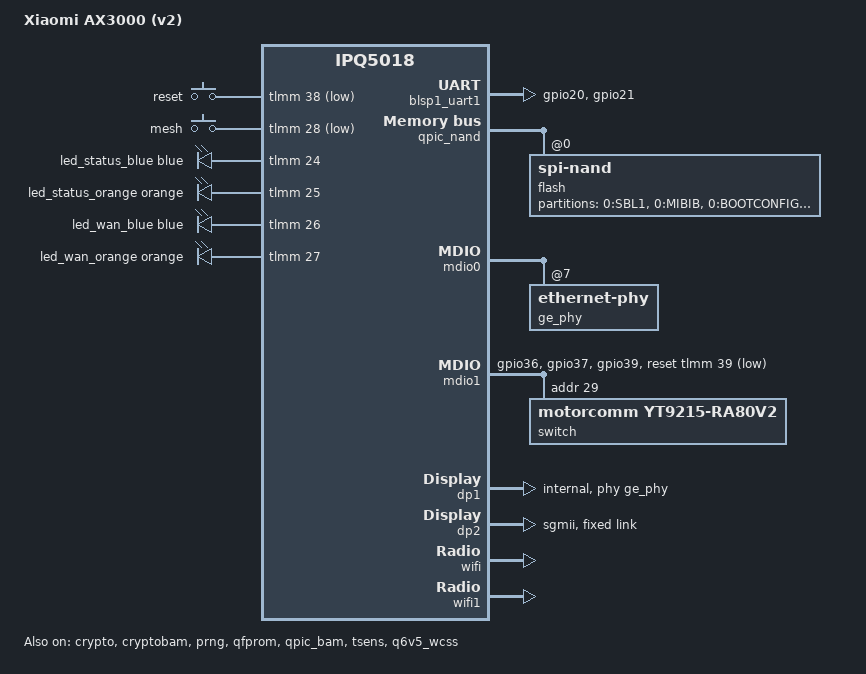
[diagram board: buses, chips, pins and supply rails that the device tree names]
// SPDX-License-Identifier: GPL-2.0-or-later OR MIT

/dts-v1/;

#include "ipq5018.dtsi"
#include "ipq5018-ess.dtsi"
#include "ipq5018-qcn6122.dtsi"
#include "ipq5018-nss.dtsi"

#include <dt-bindings/gpio/gpio.h>
#include <dt-bindings/input/input.h>
#include <dt-bindings/leds/common.h>

/ {
	model = "Xiaomi AX3000 (v2)";
	compatible = "xiaomi,ax3000-v2", "xiaomi,ax3000", "qcom,ipq5018";

	aliases {
		serial0 = &blsp1_uart1;
		ethernet0 = &dp2;
		ethernet1 = &dp1;
		led-boot = &led_status_orange;
		led-failsafe = &led_status_orange;
		led-running = &led_status_blue;
		led-upgrade = &led_status_orange;
	};

	chosen {
		bootargs-append = " console=ttyMSM0,115200n8 ubi.mtd=rootfs root=/dev/ubiblock0_0 coherent_pool=2M";
		stdout-path = "serial0:115200n8";
	};

	keys {
		compatible = "gpio-keys";
		pinctrl-0 = <&button_pins>;
		pinctrl-names = "default";

		button-reset {
			label = "reset";
			gpios = <&tlmm 38 GPIO_ACTIVE_LOW>;
			linux,code = <KEY_RESTART>;
			debounce-interval = <60>;
		};

		button-mesh {
			label = "mesh";
			gpios = <&tlmm 28 GPIO_ACTIVE_LOW>;
			linux,code = <KEY_WPS_BUTTON>;
			debounce-interval = <60>;
		};
	};

	leds {
		compatible = "gpio-leds";
		pinctrl-0 = <&leds_pins>;
		pinctrl-names = "default";

		led_status_blue: led-0 {
			color = <LED_COLOR_ID_BLUE>;
			function = LED_FUNCTION_STATUS;
			gpios = <&tlmm 24 GPIO_ACTIVE_HIGH>;
		};

		led_status_orange: led-1 {
			color = <LED_COLOR_ID_ORANGE>;
			function = LED_FUNCTION_STATUS;
			gpios = <&tlmm 25 GPIO_ACTIVE_HIGH>;
		};

		led_wan_blue: led-2 {
			color = <LED_COLOR_ID_BLUE>;
			function = LED_FUNCTION_WAN;
			gpios = <&tlmm 26 GPIO_ACTIVE_HIGH>;
		};

		led_wan_orange: led-3 {
			color = <LED_COLOR_ID_ORANGE>;
			function = LED_FUNCTION_WAN;
			gpios = <&tlmm 27 GPIO_ACTIVE_HIGH>;
		};
	};
};

&sleep_clk {
	clock-frequency = <32000>;
};

&xo_board_clk {
	clock-div = <4>;
	clock-mult = <1>;
};

&blsp1_uart1 {
	pinctrl-0 = <&uart0_pins>;
	pinctrl-names = "default";
	status = "okay";
};

&crypto {
	status = "okay";
};

&cryptobam {
	status = "okay";
};

&prng {
	status = "okay";
};

&qfprom {
	status = "okay";
};

&qpic_bam {
	status = "okay";
};

&qpic_nand {
	status = "okay";

	flash@0 {
		compatible = "spi-nand";
		reg = <0>;
		#address-cells = <1>;
		#size-cells = <1>;
		nand-ecc-engine = <&qpic_nand>;
		nand-ecc-strength = <8>;
		nand-ecc-step-size = <512>;
		nand-bus-width = <8>;

		partitions {
			compatible = "fixed-partitions";
			#address-cells = <1>;
			#size-cells = <1>;

			partition@0 {
				label = "0:SBL1";
				reg = <0x0 0x80000>;
				read-only;
			};

			partition@80000 {
				label = "0:MIBIB";
				reg = <0x80000 0x80000>;
				read-only;
			};

			partition@100000 {
				label = "0:BOOTCONFIG";
				reg = <0x100000 0x40000>;
				read-only;
			};

			partition@140000 {
				label = "0:BOOTCONFIG1";
				reg = <0x140000 0x40000>;
				read-only;
			};

			partition@180000 {
				label = "0:QSEE";
				reg = <0x180000 0x100000>;
				read-only;
			};

			partition@280000 {
				label = "0:QSEE_1";
				reg = <0x280000 0x100000>;
				read-only;
			};

			partition@380000 {
				label = "0:DEVCFG";
				reg = <0x380000 0x40000>;
				read-only;
			};

			partition@3c0000 {
				label = "0:DEVCFG_1";
				reg = <0x3c0000 0x40000>;
				read-only;
			};

			partition@400000 {
				label = "0:CDT";
				reg = <0x400000 0x40000>;
				read-only;
			};

			partition@440000 {
				label = "0:CDT_1";
				reg = <0x440000 0x40000>;
				read-only;
			};

			partition@480000 {
				label = "0:APPSBLENV";
				reg = <0x480000 0x80000>;
			};

			partition@500000 {
				label = "0:APPSBL";
				reg = <0x500000 0x140000>;
				read-only;
			};

			partition@640000 {
				label = "0:APPSBL_1";
				reg = <0x640000 0x140000>;
				read-only;
			};

			partition@780000 {
				label = "0:ART";
				reg = <0x780000 0x100000>;
				read-only;

				nvmem-layout {
					compatible = "fixed-layout";
					#address-cells = <1>;
					#size-cells = <1>;

					macaddr_art_0: macaddr@0 {
						reg = <0x0 0x6>;
					};

					macaddr_art_6: macaddr@6 {
						reg = <0x6 0x6>;
					};

					caldata@1000 {
						reg = <0x1000 0x20000>;
					};

					caldata@26800 {
						reg = <0x26800 0x20000>;
					};
				};
			};

			partition@880000 {
				label = "0:TRAINING";
				reg = <0x880000 0x80000>;
				read-only;
			};

			partition@900000 {
				label = "bdata";
				reg = <0x900000 0x80000>;
			};

			partition@980000 {
				label = "crash";
				reg = <0x980000 0x80000>;
			};

			partition@a00000 {
				label = "crash_syslog";
				reg = <0xa00000 0x80000>;
			};

			partition@a80000 {
				label = "ubi_kernel";
				reg = <0xa80000 0x1e00000>;
			};

			partition@2880000 {
				label = "rootfs";
				reg = <0x2880000 0x5780000>;
			};
		};
	};
};

&tlmm {
	uart0_pins: uart0-state {
		pins = "gpio20", "gpio21";
		function = "blsp0_uart0";
		bias-disable;
	};

	mdio1_pins: mdio-state {
		mdc-pins {
			pins = "gpio36";
			function = "mdc";
			drive-strength = <8>;
			bias-pull-up;
		};

		mdio-pins {
			pins = "gpio37";
			function = "mdio";
			drive-strength = <8>;
			bias-pull-up;
		};
	};

	switch_reset_pins: switch-reset-pins {
		pins = "gpio39";
		function = "gpio";
		drive-strength = <8>;
		bias-pull-down;
	};

	button_pins: button-pins {
		pins = "gpio28", "gpio38";
		function = "gpio";
		drive-strength = <8>;
		bias-pull-up;
	};

	leds_pins: leds-pins {
		pins = "gpio24", "gpio25", "gpio26", "gpio27";
		function = "gpio";
		drive-strength = <8>;
		bias-pull-down;
	};
};

&tsens {
	status = "okay";
};

&mdio0 {
	status = "okay";

	ge_phy: ethernet-phy@7 {
		qcom,dac-preset-short-cable;
	};
};

&mdio1 {
	status = "okay";
	pinctrl-0 = <&mdio1_pins &switch_reset_pins>;
	pinctrl-names = "default";
	reset-gpios = <&tlmm 39 GPIO_ACTIVE_LOW>;
	reset-assert-us = <10000>;
	reset-deassert-us = <50000>;

	/*
	 * Motorcomm YT9215 switch at SMI address 0x1d, initialized in Option B
	 * Dual-Conduit Untagged Raw Ethernet mode by yt9215-ra80v2:
	 *   - Port 3 (WAN)      <---> Port 4 (Internal PHY -> dp1 / eth1)
	 *   - Port 0, 1, 2 (LAN)<---> Port 8 (Rev-SGMII 1000M -> dp2 / eth0)
	 *   - CPU tag (0x9988) disabled so NSS offloads standard Ethernet frames.
	 */
	switch@1d {
		compatible = "motorcomm,yt9215-ra80v2";
		reg = <0x1d>;
	};
};

&soc {
	ess-instance {
		ess-switch@39c00000 {
			status = "okay";
			cmnblk_clk = "internal_96MHz";
			switch_mac_mode = <0xf>;

			qcom,port_phyinfo {
				port@0 {
					port_id = <1>;
					mdiobus = <&mdio0>;
					phy_address = <7>;
					phy_dac = <0x10 0x10>;
				};

				port@1 {
					port_id = <2>;
					forced-speed = <1000>;
					forced-duplex = <1>;
				};
			};
		};
	};
};

/* GMAC0 -> Internal GE PHY -> YT9215 Port 4 -> Rear WAN (Port 3) [eth1] */
&dp1 {
	status = "okay";
	label = "eth1";
	phy-mode = "internal";
	phy-handle = <&ge_phy>;
	nvmem-cells = <&macaddr_art_0>;
	nvmem-cell-names = "mac-address";
};

/* GMAC1 -> Uniphy SGMII -> YT9215 Port 8 -> Rear LAN 1..3 (Port 0..2) [eth0] */
&dp2 {
	status = "okay";
	label = "eth0";
	phy-mode = "sgmii";
	nvmem-cells = <&macaddr_art_6>;
	nvmem-cell-names = "mac-address";

	fixed-link {
		speed = <1000>;
		full-duplex;
		pause;
		asym-pause;
	};
};

&q6v5_wcss {
	status = "okay";
	boot-args = <0x2 0x4 0x2 0x12 0x0 0x0>;
};

&wifi {
	status = "okay";
	qcom,rproc = <&q6_wcss_pd1>;
	qcom,userpd-subsys-name = "q6v5_wcss_userpd1";
	qcom,ath11k-fw-memory-mode = <2>;
	qcom,bdf-addr = <0x4c400000>;
	qcom,ath11k-calibration-variant = "Xiaomi-AX3000-v2";
};

&wifi1 {
	status = "okay";
	qcom,rproc = <&q6_wcss_pd2>;
	qcom,userpd-subsys-name = "q6v5_wcss_userpd2";
	qcom,ath11k-fw-memory-mode = <2>;
	qcom,bdf-addr = <0x4d100000>;
	qcom,m3-dump-addr = <0x4df00000>;
	qcom,ath11k-calibration-variant = "Xiaomi-AX3000-v2";
};
